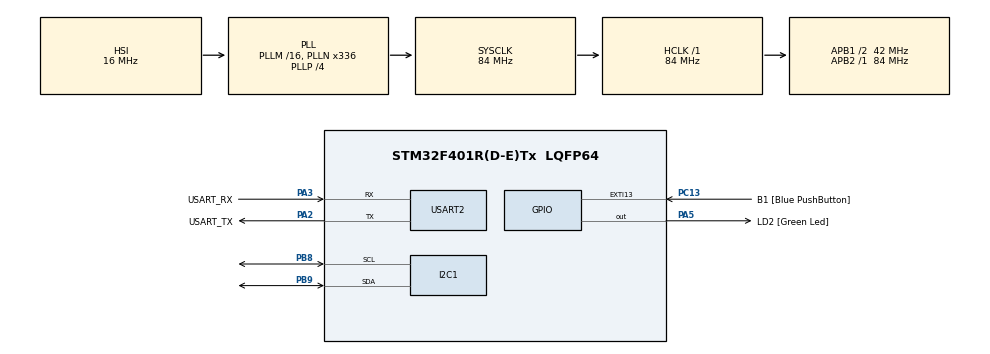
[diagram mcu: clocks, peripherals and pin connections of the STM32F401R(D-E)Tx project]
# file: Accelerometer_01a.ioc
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Mcu.Family=STM32F4
Mcu.Name=STM32F401R(D-E)Tx
Mcu.Package=LQFP64
NVIC.I2C1_ER_IRQn=true\:0\:0\:false\:false\:true\:true\:true\:true
NVIC.I2C1_EV_IRQn=true\:0\:0\:false\:false\:true\:true\:true\:true
NVIC.PriorityGroup=NVIC_PRIORITYGROUP_0
PA13.GPIO_Label=TMS
PA13.Mode=Serial_Wire
PA13.Signal=SYS_JTMS-SWDIO
PA14.GPIO_Label=TCK
PA14.Mode=Serial_Wire
PA14.Signal=SYS_JTCK-SWCLK
PA2.GPIO_Label=USART_TX
PA2.GPIO_Mode=GPIO_MODE_AF_PP
PA2.GPIO_PuPd=GPIO_NOPULL
PA2.GPIO_Speed=GPIO_SPEED_FREQ_LOW
PA2.Mode=Asynchronous
PA2.Signal=USART2_TX
PA3.GPIO_Label=USART_RX
PA3.GPIO_Mode=GPIO_MODE_AF_PP
PA3.GPIO_PuPd=GPIO_NOPULL
PA3.GPIO_Speed=GPIO_SPEED_FREQ_LOW
PA3.Mode=Asynchronous
PA3.Signal=USART2_RX
PA5.GPIO_Label=LD2 [Green Led]
PA5.GPIO_Mode=GPIO_MODE_OUTPUT_PP
PA5.GPIO_PuPd=GPIO_NOPULL
PA5.GPIO_Speed=GPIO_SPEED_FREQ_LOW
PA5.Signal=GPIO_Output
PB3.GPIO_Label=SWO
PB3.Signal=SYS_JTDO-SWO
PB8.Mode=I2C
PB8.Signal=I2C1_SCL
PB9.Mode=I2C
PB9.Signal=I2C1_SDA
PC13-ANTI_TAMP.GPIO_Label=B1 [Blue PushButton]
PC13-ANTI_TAMP.GPIO_ModeDefaultEXTI=GPIO_MODE_IT_FALLING
PC13-ANTI_TAMP.GPIO_PuPd=GPIO_NOPULL
PC13-ANTI_TAMP.Signal=GPXTI13
PC14-OSC32_IN.Mode=LSE-External-Oscillator
PC14-OSC32_IN.Signal=RCC_OSC32_IN
PC15-OSC32_OUT.Mode=LSE-External-Oscillator
PC15-OSC32_OUT.Signal=RCC_OSC32_OUT
PH0\ -\ OSC_IN.Mode=HSE-External-Clock-Source
PH0\ -\ OSC_IN.Signal=RCC_OSC_IN
PH1\ -\ OSC_OUT.Mode=HSE-External-Clock-Source
PH1\ -\ OSC_OUT.Signal=RCC_OSC_OUT
ProjectManager.HeapSize=0x200
ProjectManager.StackSize=0x400
ProjectManager.TargetToolchain=STM32CubeIDE
RCC.48MHZClocksFreq_Value=48000000
RCC.AHBFreq_Value=84000000
RCC.APB1CLKDivider=RCC_HCLK_DIV2
RCC.APB1Freq_Value=42000000
RCC.APB1TimFreq_Value=84000000
RCC.APB2Freq_Value=84000000
RCC.APB2TimFreq_Value=84000000
RCC.CortexFreq_Value=84000000
RCC.HCLKFreq_Value=84000000
RCC.HSE_VALUE=8000000
RCC.HSI_VALUE=16000000
RCC.PLLN=336
RCC.PLLP=RCC_PLLP_DIV4
RCC.PLLQ=7
RCC.SYSCLKFreq_VALUE=84000000
RCC.SYSCLKSource=RCC_SYSCLKSOURCE_PLLCLK
RCC.VCOOutputFreq_Value=336000000
USART2.VirtualMode=VM_ASYNC
board=NUCLEO-F401RE

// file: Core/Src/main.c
/* USER CODE BEGIN Header */
/**
  ******************************************************************************
  * @file           : main.c
  * @brief          : Main program body
  ******************************************************************************
  * @attention
  *
  * Copyright (c) 2022 STMicroelectronics.
  * All rights reserved.
  *
  * This software is licensed under terms that can be found in the LICENSE file
  * in the root directory of this software component.
  * If no LICENSE file comes with this software, it is provided AS-IS.
  *
  ******************************************************************************
  */
/* USER CODE END Header */
#include "main.h"

I2C_HandleTypeDef hi2c1;

UART_HandleTypeDef huart2;

/* USER CODE BEGIN PV */

//device address
uint8_t Accel_Addr = 0b01010000;
uint8_t Accel_Addr_Variant = 0b00110000;

//reg address, 1Hz + XYZ enabled
//see data sheet for configurations
uint8_t CTRL_REG1[] = {0x20, 0b00010111};

//reg address, no HPF (default value at startup)
uint8_t CTRL_REG2[] = {0x21, 0b00000000};

//reg address, continuous update + 2g FSR + self test disabled (default at startup)
uint8_t CTRL_REG4[] = {0x23, 0b00000000};

//XYZ registers
//reg address, 1Hz + XYZ enabled
uint8_t X_reg = 0x29;
uint8_t Y_reg = 0x2B;
uint8_t Z_reg = 0x2D;

/* USER CODE END PV */

void SystemClock_Config(void);
static void MX_GPIO_Init(void);
static void MX_USART2_UART_Init(void);
static void MX_I2C1_Init(void);

int main(void)
{

  /* MCU Configuration--------------------------------------------------------*/

  /* Reset of all peripherals, Initializes the Flash interface and the Systick. */
  HAL_Init();

  /* Configure the system clock */
  SystemClock_Config();

  /* Initialize all configured peripherals */
  MX_GPIO_Init();
  MX_USART2_UART_Init();
  MX_I2C1_Init();
  /* USER CODE BEGIN 2 */

  char str[64];
  int len = 0;
  uint8_t addr;

  //find the right accelerometer and set CTRL REG 1
  if(HAL_I2C_Master_Transmit(&hi2c1, Accel_Addr, CTRL_REG1, sizeof(CTRL_REG1), 10)== HAL_OK){
	  addr = Accel_Addr;
	  len = snprintf(str, sizeof(str), "LIS2DE found \r\n");
  }
  else{
	  if(HAL_I2C_Master_Transmit(&hi2c1, Accel_Addr, CTRL_REG1, sizeof(CTRL_REG1), 10)== HAL_OK){
		  len = snprintf(str, sizeof(str), "LIS2DE12 found \r\n");
		  addr = Accel_Addr_Variant;
	  }
	  else
		  len = snprintf(str, sizeof(str), "Accelerometer Error \r\n");
  }
  HAL_UART_Transmit(&huart2, str, len, 100);

  //Set accelerometer CTRL REG 2 and CTRL REG 4
  HAL_I2C_Master_Transmit(&hi2c1, addr, CTRL_REG2, sizeof(CTRL_REG2),50);
  HAL_I2C_Master_Transmit(&hi2c1, addr, CTRL_REG4, sizeof(CTRL_REG4),50);

  /* USER CODE END 2 */

  /* Infinite loop */
  /* USER CODE BEGIN WHILE */
  while (1)
  {
	int8_t acq_x = 0;
	HAL_I2C_Master_Transmit(&hi2c1, addr, &X_reg, 1, 50);
	HAL_I2C_Master_Receive(&hi2c1, addr+1, &acq_x, 1, 50);

	int8_t acq_y = 0;
	HAL_I2C_Master_Transmit(&hi2c1, addr, &Y_reg, 1, 50);
	HAL_I2C_Master_Receive(&hi2c1, addr+1, &acq_y, 1, 50);

	int8_t acq_z = 0;
	HAL_I2C_Master_Transmit(&hi2c1, addr, &Z_reg, 1, 50);
	HAL_I2C_Master_Receive(&hi2c1, addr+1, &acq_z, 1, 50);

	float gx = acq_x/64.0;
	float gy = acq_y/64.0;
	float gz = acq_z/64.0;

	len = snprintf(str, sizeof(str),"X: %+.2f\r\nY: %+.2f\r\nZ: %+.2f\r\n \r\n",gx,gy,gz);
	HAL_UART_Transmit(&huart2, str,  len, 100);

	HAL_Delay(1000);
    /* USER CODE END WHILE */

  }
}

void SystemClock_Config(void)
{
  RCC_OscInitTypeDef RCC_OscInitStruct = {0};
  RCC_ClkInitTypeDef RCC_ClkInitStruct = {0};

  /** Configure the main internal regulator output voltage
  */
  __HAL_RCC_PWR_CLK_ENABLE();
  __HAL_PWR_VOLTAGESCALING_CONFIG(PWR_REGULATOR_VOLTAGE_SCALE2);

  /** Initializes the RCC Oscillators according to the specified parameters
  * in the RCC_OscInitTypeDef structure.
  */
  RCC_OscInitStruct.OscillatorType = RCC_OSCILLATORTYPE_HSI;
  RCC_OscInitStruct.HSIState = RCC_HSI_ON;
  RCC_OscInitStruct.HSICalibrationValue = RCC_HSICALIBRATION_DEFAULT;
  RCC_OscInitStruct.PLL.PLLState = RCC_PLL_ON;
  RCC_OscInitStruct.PLL.PLLSource = RCC_PLLSOURCE_HSI;
  RCC_OscInitStruct.PLL.PLLM = 16;
  RCC_OscInitStruct.PLL.PLLN = 336;
  RCC_OscInitStruct.PLL.PLLP = RCC_PLLP_DIV4;
  RCC_OscInitStruct.PLL.PLLQ = 7;
  if (HAL_RCC_OscConfig(&RCC_OscInitStruct) != HAL_OK)
  {
    Error_Handler();
  }

  /** Initializes the CPU, AHB and APB buses clocks
  */
  RCC_ClkInitStruct.ClockType = RCC_CLOCKTYPE_HCLK|RCC_CLOCKTYPE_SYSCLK
                              |RCC_CLOCKTYPE_PCLK1|RCC_CLOCKTYPE_PCLK2;
  RCC_ClkInitStruct.SYSCLKSource = RCC_SYSCLKSOURCE_PLLCLK;
  RCC_ClkInitStruct.AHBCLKDivider = RCC_SYSCLK_DIV1;
  RCC_ClkInitStruct.APB1CLKDivider = RCC_HCLK_DIV2;
  RCC_ClkInitStruct.APB2CLKDivider = RCC_HCLK_DIV1;

  if (HAL_RCC_ClockConfig(&RCC_ClkInitStruct, FLASH_LATENCY_2) != HAL_OK)
  {
    Error_Handler();
  }
}

static void MX_I2C1_Init(void)
{

  hi2c1.Instance = I2C1;
  hi2c1.Init.ClockSpeed = 100000;
  hi2c1.Init.DutyCycle = I2C_DUTYCYCLE_2;
  hi2c1.Init.OwnAddress1 = 0;
  hi2c1.Init.AddressingMode = I2C_ADDRESSINGMODE_7BIT;
  hi2c1.Init.DualAddressMode = I2C_DUALADDRESS_DISABLE;
  hi2c1.Init.OwnAddress2 = 0;
  hi2c1.Init.GeneralCallMode = I2C_GENERALCALL_DISABLE;
  hi2c1.Init.NoStretchMode = I2C_NOSTRETCH_DISABLE;
  if (HAL_I2C_Init(&hi2c1) != HAL_OK)
  {
    Error_Handler();
  }

}

static void MX_USART2_UART_Init(void)
{

  huart2.Instance = USART2;
  huart2.Init.BaudRate = 115200;
  huart2.Init.WordLength = UART_WORDLENGTH_8B;
  huart2.Init.StopBits = UART_STOPBITS_1;
  huart2.Init.Parity = UART_PARITY_NONE;
  huart2.Init.Mode = UART_MODE_TX_RX;
  huart2.Init.HwFlowCtl = UART_HWCONTROL_NONE;
  huart2.Init.OverSampling = UART_OVERSAMPLING_16;
  if (HAL_UART_Init(&huart2) != HAL_OK)
  {
    Error_Handler();
  }

}

static void MX_GPIO_Init(void)
{
  GPIO_InitTypeDef GPIO_InitStruct = {0};

  /* GPIO Ports Clock Enable */
  __HAL_RCC_GPIOC_CLK_ENABLE();
  __HAL_RCC_GPIOH_CLK_ENABLE();
  __HAL_RCC_GPIOA_CLK_ENABLE();
  __HAL_RCC_GPIOB_CLK_ENABLE();

  /*Configure GPIO pin Output Level */
  HAL_GPIO_WritePin(LD2_GPIO_Port, LD2_Pin, GPIO_PIN_RESET);

  /*Configure GPIO pin : B1_Pin */
  GPIO_InitStruct.Pin = B1_Pin;
  GPIO_InitStruct.Mode = GPIO_MODE_IT_FALLING;
  GPIO_InitStruct.Pull = GPIO_NOPULL;
  HAL_GPIO_Init(B1_GPIO_Port, &GPIO_InitStruct);

  /*Configure GPIO pin : LD2_Pin */
  GPIO_InitStruct.Pin = LD2_Pin;
  GPIO_InitStruct.Mode = GPIO_MODE_OUTPUT_PP;
  GPIO_InitStruct.Pull = GPIO_NOPULL;
  GPIO_InitStruct.Speed = GPIO_SPEED_FREQ_LOW;
  HAL_GPIO_Init(LD2_GPIO_Port, &GPIO_InitStruct);

}

void Error_Handler(void)
{
  __disable_irq();
  while (1)
  {
  }
}
